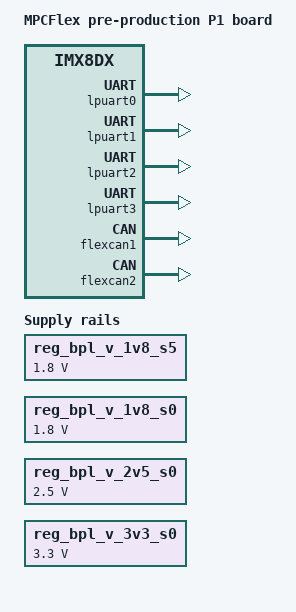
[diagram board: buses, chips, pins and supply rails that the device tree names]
/*
 * The code contained herein is licensed under the GNU General Public
 * License. You may obtain a copy of the GNU General Public License
 * Version 2 or later at the following locations:
 *
 * http://www.opensource.org/licenses/gpl-license.html
 * http://www.gnu.org/copyleft/gpl.html
 */

/* MPCFlex platform by Berg Propulsion, built on Kontron SMARC module */

/dts-v1/;

#define KEEP_CPUS  /* From kontron BSP - not sure what it is for */

#include "../freescale/imx8qxp.dtsi"
#include "kontron-samx8x.dtsi"

/ {
	model = "MPCFlex pre-production P1 board";
	compatible = "kontron,samx8x-dx", "fsl,imx8dx";

	sound: sound {
		audio-codec = <&max98357a>;
	};

	/* From kontron BSP, Not sure what it's needed for. */
	reserved-memory {
		/* global autoconfigured region for contiguous allocations */
		linux,cma {
			compatible = "shared-dma-pool";
			reusable;
			size = <0 0x3c000000>;
			alloc-ranges = <0 0x96000000 0 0x3c000000>;
			linux,cma-default;
		};
	};

	// Codec chip
	max98357a: max98357a@0 {
		compatible = "maxim,max98357a";
		#sound-dai-cells = <0>;
		reg = <0x1a>;
		// Additional, apparently not needed settings, for our usage:
		//clocks = <&mclkout0_lpcg 0>;
		//clock-names = "mclk";
		//clock-frequency = <24000000>;
		//micdet-cfg = <0x0>;    // We have no audio in (microphone)
		//micdet-delay = <0x64>;
		//power-domains = <&pd IMX_SC_R_MCLK_OUT_0>;
	};

	// Sound-card definition
	sound-mpcflex {
		compatible = "simple-audio-card";
		simple-audio-card,name = "mpcflex-audio";

		// Optional properties:

		// simple-audio-card,widgets
		// simple-audio-card,routing
		// simple-audio-card,name
		// simple-audio-card,widgets
		// simple-audio-card,routing
		// simple-audio-card,mclk-fs - if defined here then mclk-fs in dai-link subnode is ignored
		// simple-audio-card,hp-det-gpio
		// simple-audio-card,mic-det-gpio
		// simple-audio-card,aux-devs
		// simple-audio-card,pin-switches
		// simple-audio-card,dai-link (container)

		// From Documentation/devicetree/bindings/sound/simple-card.txt:
		// If dai-link subnode is omitted and the subnode properties
		// are directly under "sound"-node, then the subnode property and
		// subnode names have to be prefixed with "simple-audio-card,"

		// Optional DAI link properties:
		simple-audio-card,format = "i2s";
		simple-audio-card,frame-master = <&cpudai>;
		simple-audio-card,bitclock-master = <&cpudai>;

		// Additional optional parameters:

		// bitclock-inversion (bool)
		// frame-inversion (bool)
		// mclk-fs -- multiplication factor between strean rate and codec mclk for dai-link

		// Optional CPU/CODEC subnodes properties:
		// - dai-tdm-slot-num
		// - dai-tdm-slot-width
		// - clocks / system-clock-frequency

		// Mandatory properties for main sound node: = cpu and codec
		// Required CPU/CODEC subnodes properties are:
		// - sound-dai

		cpudai: simple-audio-card,cpu {
			sound-dai = <&sai0>;
		};

		link_codec: simple-audio-card,codec {
			sound-dai = <&max98357a>;
		};
	};
};

&lpuart0 {
	status = "okay";
};

&lpuart1 {
	status = "okay";
};

&lpuart2 {
	status = "okay";
};

&lpuart3 {
	status = "okay";
};

&flexcan1 {
	status = "okay";
};

&flexcan2 {
	status = "okay";
};

/*
&i2c0 {
	tca9554_out: gpio@22 {
		compatible = "nxp,pca9554";
		reg = <0x22>;
		gpio-controller;
		#gpio-cells = <2>;
		vcc-supply = <&reg_bpl_v_1v8_s5>;
	};

	tca9554_in: gpio@24 {
		compatible = "nxp,pca9554";
		reg = <0x24>;
		gpio-controller;
		#gpio-cells = <2>;
		vcc-supply = <&reg_bpl_v_1v8_s5>;
	};

	user: eeprom@57 {
		compatible = "atmel,24c64";
		reg = <0x57>;
	};


};
*/


/*
&i2c3 {
	tca9554_misc: gpio@20 {
		compatible = "nxp,pca9554";
		reg = <0x20>;
		gpio-controller;
		#gpio-cells = <2>;
		vcc-supply = <&reg_1v8_s0>;
	};

	wm8904: wm8904@1a {
		compatible = "wlf,wm8904";
		reg = <0x1a>;
		clocks = <&mclkout0_lpcg 0>;
		clock-names = "mclk";
		clock-frequency = <24000000>;
		micdet-cfg = <0x0>;
		micdet-delay = <0x64>;
		power-domains = <&pd IMX_SC_R_MCLK_OUT_0>;
	};
};
*/

// FROM smarc-evaluation-carrier-v2.dtsi, then reduced :
/ {

	reg_bpl_v_1v8_s5: regulator-carrier-1v8-s5 {
		compatible = "regulator-fixed";
		regulator-name = "bpl-v-1v8-s5";
		regulator-min-microvolt = <1800000>;
		regulator-max-microvolt = <1800000>;
	};

	reg_bpl_v_1v8_s0: regulator-carrier-1v8-s0 {
		compatible = "regulator-fixed";
		regulator-name = "bpl-v-1v8-s0";
		regulator-min-microvolt = <1800000>;
		regulator-max-microvolt = <1800000>;
	};

	reg_bpl_v_2v5_s0: regulator-carrier-2v5-s0 {
		compatible = "regulator-fixed";
		regulator-name = "bpl-v-2v5-s0";
		regulator-min-microvolt = <2500000>;
		regulator-max-microvolt = <2500000>;
	};

	reg_bpl_v_3v3_s0: regulator-carrier-3v3-s0 {
		compatible = "regulator-fixed";
		regulator-name = "bpl-v-3v3-s0";
		regulator-min-microvolt = <3300000>;
		regulator-max-microvolt = <3300000>;
	};
};

/*&i2c0_mipi_lvds0 {
	lcd_edid: eeprom@50 {
		compatible = "atmel,24c04";
		reg = <0x50>;
	};
};
*/

